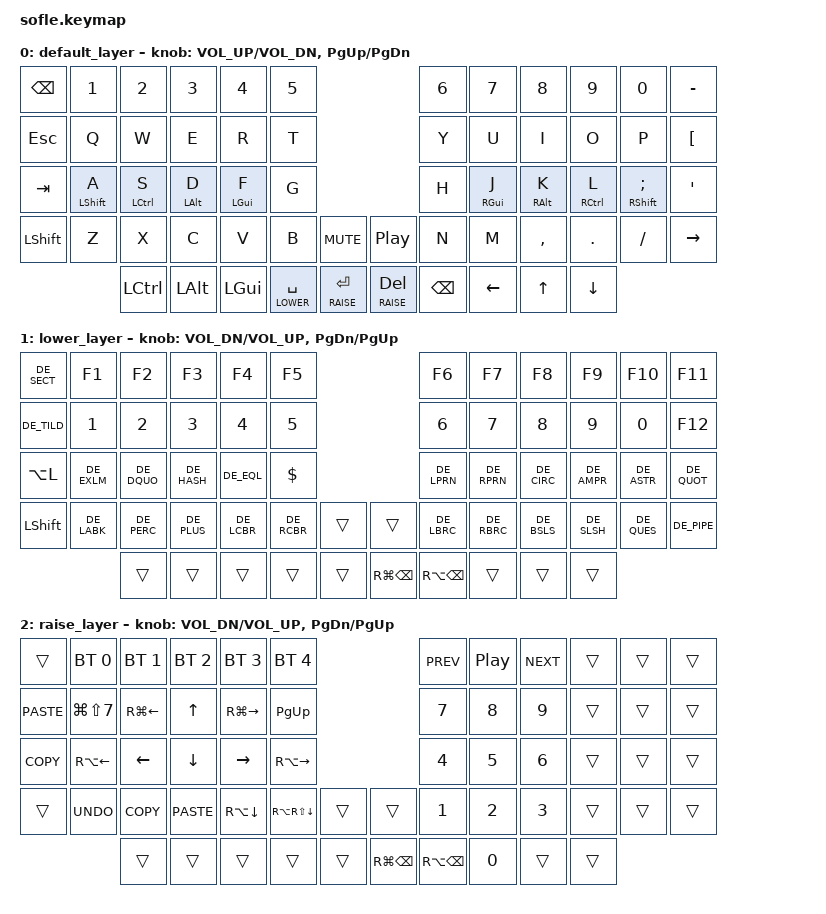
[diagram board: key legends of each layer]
/*
 * Copyright (c) 2020 The ZMK Contributors
 *
 * SPDX-License-Identifier: MIT
 */

#include <behaviors.dtsi>
#include <dt-bindings/zmk/keys.h>
#include <dt-bindings/zmk/bt.h>

//#define HOST_OS 2
//#include "helper.h"
#include "german-keymap.h"

#define BASE 0
#define LOWER 1
#define RAISE 2
#define ADJUST 3

// ZMK_UNICODE_PAIR(lin_ae, N0, N0, E, N4, N0, N0, C, N4)
// ZMK_UNICODE_SINGLE(ü ü , N0, N0, N5, C)

/ {
    chosen {
      zmk,battery = &vbatt;
    };

    vbatt: vbatt {
        compatible = "zmk,battery-nrf-vddh";
        label = "VBATT";
    };
        behaviors {
        hm: homerow_mods {
            compatible = "zmk,behavior-hold-tap";
            label = "HOMEROW_MODS";
            #binding-cells = <2>;
            tapping-term-ms = <200>;
            quick-tap-ms = <100>;
            flavor = "tap-preferred";
            bindings = <&kp>, <&kp>;
        };

        bhm: balanced_homerow_mods {
            compatible = "zmk,behavior-hold-tap";
            label = "HOMEROW_MODS";
            #binding-cells = <2>;
            tapping-term-ms = <200>;    // <---[[moderate duration]]
            quick-tap-ms = <0>;
            flavor = "balanced";
            bindings = <&kp>, <&kp>;
        };
        am: alpha_mods {
            compatible = "zmk,behavior-hold-tap";
            label = "ALPHA_MT";
            #binding-cells = <2>;
            tapping-term-ms = <150>;
            quick-tap-ms = <125>;
            flavor = "tap-preferred";
            bindings = <&kp>, <&kp>;
            retro-tap;
        };
    };

    keymap {
        compatible = "zmk,keymap";

        default_layer {
// ------------------------------------------------------------------------------------------------------------
// |  BACSP|  1  |  2  |  3   |  4   |  5          |                              |  6   |  7    |  8    |  9   |   0   |   ß   |
// |  ESC  |  Q  |  W  |  E   |  R   |  T          |                              |  Y   |  U    |  I    |  O   |   P   |   Ü   |
// |  TAB  |  A  |  S  |  D   |  F   |  G          |                              |  H   |  J    |  K    |  L   |   Ö   |   Ä   |
// | SHIFT |  Z  |  X  |  C   |  V   |  B          |    MUTE     |    |   Play P  |  N   |  M    |  ,    |  .   |   /   | RIGHT |
//               | GUI | ALT  | CTRL | LOWER SPACE | Raise ENTER |    | RAISE DEL | BSP  | LEFT  |  UP   | DOWN |
            bindings = <
&kp BSPC  &kp N1        &kp N2        &kp N3       &kp N4        &kp N5                                         &kp N6    &kp N7      &kp N8       &kp N9      &kp N0         &kp MINUS
&kp ESC   &kp Q         &kp W         &kp E        &kp R         &kp T                                          &kp Y     &kp U       &kp I        &kp O       &kp P          &kp LBKT
&kp TAB   &hm LSHFT A   &hm LCTRL S   &hm LALT D   &hm LGUI F    &kp G                                          &kp H     &hm RGUI J  &hm RALT K   &hm RCTRL L &hm RSHFT SEMI &kp SQT
&kp LSHFT &kp Z         &kp X         &kp C        &kp V         &kp B            &kp C_MUTE      &kp C_PP      &kp N     &kp M       &kp COMMA    &kp DOT     &kp FSLH       &kp RIGHT
                        &kp LCTRL     &kp LALT     &kp LGUI      &lt LOWER SPACE  &lt RAISE RET   &lt RAISE DEL &kp BSPC  &kp LEFT    &kp UP     &kp DOWN
            >;

            sensor-bindings = <&inc_dec_kp C_VOL_UP C_VOL_DN &inc_dec_kp PG_UP PG_DN>;
        };

        lower_layer {
// ------------------------------------------------------------------------------------------------------------
// |   §   |  F1  |  F2  |  F3  |  F4  |  F5  |                   |  F6  |  F7   |  F8   |  F9  |  F10  |  F11  |
// |  ~    |   1  |   2  |   3  |   4  |   5  |                   |   6  |   7   |   8   |   9  |   0   |  F12  |
// |  @    |   !  |   "  |   #  |   =  |   $  |                   |   (  |   )   |   ^   |   &  |   *   |   '   |
// | SHIFT |   <  |   %  |   +  |   {  |   }  |        |  |       |   [  |   ]   |   \   |   /  |   ?   |   |   |
//                |      |      |      |      |        |  |       |      |       |       |      |
            bindings = <
&kp DE_SECT  &kp F1         &kp F2       &kp F3        &kp F4       &kp F5                                 &kp F6       &kp F7       &kp F8       &kp F9      &kp F10      &kp F11
&kp DE_TILD  &kp N1         &kp N2       &kp N3        &kp N4       &kp N5                                 &kp N6       &kp N7       &kp N8       &kp N9      &kp N0       &kp F12
&kp LA(L)    &kp DE_EXLM    &kp DE_DQUO  &kp DE_HASH   &kp DE_EQL   &kp DLLR                               &kp DE_LPRN  &kp DE_RPRN  &kp DE_CIRC  &kp DE_AMPR &kp DE_ASTR  &kp DE_QUOT
&kp LSHFT    &kp DE_LABK    &kp DE_PERC  &kp DE_PLUS   &kp DE_LCBR  &kp DE_RCBR  &trans      &trans        &kp DE_LBRC  &kp DE_RBRC  &kp DE_BSLS  &kp DE_SLSH &kp DE_QUES  &kp DE_PIPE
                            &trans       &trans        &trans       &trans       &trans      &kp RG(BSPC)  &kp RA(BSPC) &trans       &trans       &trans
            >;

            sensor-bindings = <&inc_dec_kp C_VOL_DN C_VOL_UP &inc_dec_kp PG_DN PG_UP>;
        };

        raise_layer {
// ------------------------------------------------------------------------------------------------------------
// |trans| BT1   | BT2  |  BT3  |  BT4  |  BT5  |                |C_PREV| C_PP | C_NEXT|    - |       |      |
// |PASTE|  Comm | |<<< |   ^   | >>>|  | PG_UP |                |   7  |   8  |   9   |      |       |      |
// |COPY |   <<  |  <   |   v   |   >   |  >>   |                |   4  |   5  |   6   |      |       |      |
// |SHIFT| UNDO  |COPY  | PASTE |AddLine|CO Line|      |  |      |   1  |   2  |   3   |      |       |      |
//               |      |       |       |       |      |  |      |      |   0  |       |      |
            bindings = <
&trans       &bt BT_SEL 0   &bt BT_SEL 1    &bt BT_SEL 2 &bt BT_SEL 3   &bt BT_SEL 4                                  &kp C_PREV   &kp C_PP    &kp C_NEXT   &trans   &trans   &trans
&kp K_PASTE  &kp LG(LS(N7)) &kp RG(LEFT)    &kp UP       &kp RG(RIGHT)  &kp PG_UP                                     &kp N7       &kp N8      &kp N9       &trans   &trans   &trans
&kp K_COPY   &kp RA(LEFT)   &kp LEFT        &kp DOWN     &kp RIGHT      &kp RA(RIGHT)                                 &kp N4       &kp N5      &kp N6       &trans   &trans   &trans
&trans       &kp K_UNDO     &kp K_COPY      &kp K_PASTE  &kp RA(DOWN)   &kp RA(RS(DOWN))    &trans      &trans        &kp N1       &kp N2      &kp N3       &trans   &trans   &trans
                            &trans          &trans       &trans         &trans              &trans      &kp RG(BSPC)  &kp RA(BSPC) &kp N0      &trans       &trans
            >;
            sensor-bindings = <&inc_dec_kp C_VOL_DN C_VOL_UP &inc_dec_kp PG_DN PG_UP>;
        };
    };
};
